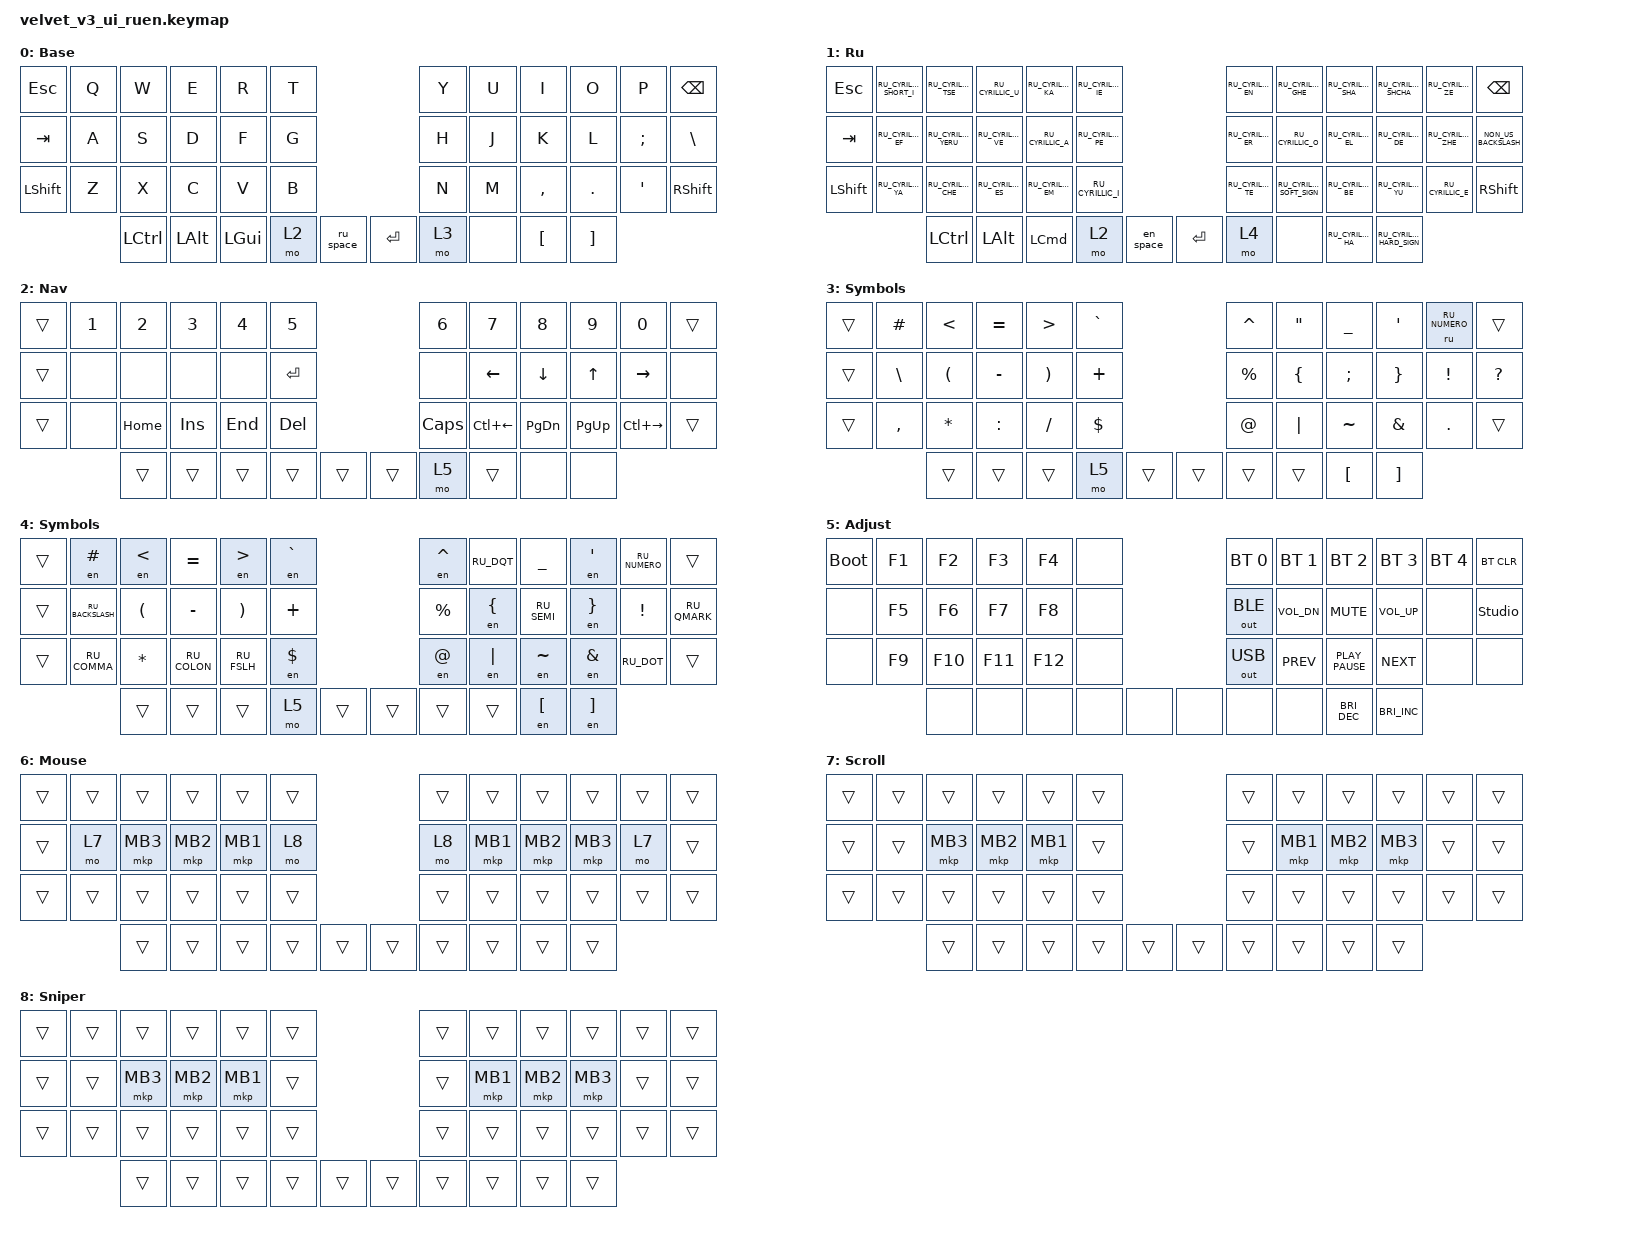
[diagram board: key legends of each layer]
#include "keys_ru.h"
#include <dt-bindings/zmk/input_transform.h>
#include <input/processors.dtsi>
#include <zephyr/dt-bindings/input/input-event-codes.h>
#include <behaviors.dtsi>
#include <dt-bindings/zmk/bt.h>
#include <dt-bindings/zmk/keys.h>
#include <dt-bindings/zmk/outputs.h>
#include <dt-bindings/zmk/pointing.h>

/ {
    behaviors {
        cap_sen: cap_sen {
            compatible = "zmk,behavior-hold-tap";
            label = "CAP_SEN";
            bindings = <&mo>, <&mkp>;

            #binding-cells = <2>;
            tapping-term-ms = <150>;
            hold-while-undecided;
        };

        en_space: en_space {
            compatible = "zmk,behavior-mod-morph";
            label = "EN_SPACE";
            bindings = <&kp SPACE>, <&layer_en>;

            #binding-cells = <0>;
            mods = <(MOD_LCTL)>;
        };

        ru_space: ru_space {
            compatible = "zmk,behavior-mod-morph";
            label = "RU_SPACE";
            bindings = <&kp SPACE>, <&layer_ru>;

            #binding-cells = <0>;
            mods = <(MOD_LCTL)>;
        };
    };

    combos {
        compatible = "zmk,combos";

        sniper_layer_left {
            bindings = <&mo 8>;
            key-positions = <17 16>;
        };

        scroll_layer_left {
            bindings = <&mo 7>;
            key-positions = <13 14>;
        };

        mouse_left_left {
            bindings = <&mkp MB1>;
            key-positions = <16 15>;
        };

        mouse_right_left {
            bindings = <&mkp MB2>;
            key-positions = <15 14>;
        };

        mouse_middle_left {
            bindings = <&mkp MB3>;
            key-positions = <15 14 16>;
        };

        sniper_layer_right {
            bindings = <&mo 8>;
            key-positions = <18 19>;
        };

        scroll_layer_right {
            bindings = <&mo 7>;
            key-positions = <22 21>;
        };

        mouse_left_right {
            bindings = <&mkp MB1>;
            key-positions = <19 20>;
        };

        mouse_right_right {
            bindings = <&mkp MB2>;
            key-positions = <20 21>;
        };

        mouse_middle_right {
            bindings = <&mkp MB3>;
            key-positions = <19 20 21>;
        };
    };

    macros {
        to_ru: to_ru {
            compatible = "zmk,behavior-macro";
            #binding-cells = <0>;
            bindings = <&kp LS(LC(N2))>;
            label = "TO_RU";
            wait-ms = <0>;
            tap-ms = <30>;
        };

        to_en: to_en {
            compatible = "zmk,behavior-macro";
            #binding-cells = <0>;
            bindings = <&kp LS(LC(N1))>;
            label = "TO_EN";
            wait-ms = <0>;
            tap-ms = <30>;
        };

        layer_en: layer_en {
            compatible = "zmk,behavior-macro";
            #binding-cells = <0>;
            bindings = <&to 0 &to_en>;
            label = "LAYER_EN";
            wait-ms = <0>;
            tap-ms = <30>;
        };

        layer_ru: layer_ru {
            compatible = "zmk,behavior-macro";
            #binding-cells = <0>;
            bindings = <&to 1 &to_ru>;
            label = "LAYER_RU";
            tap-ms = <30>;
            wait-ms = <0>;
        };

        en: en {
            compatible = "zmk,behavior-macro-one-param";
            #binding-cells = <1>;
            bindings =
                <&to_en>,
                <&macro_press>,
                <&macro_param_1to1 &kp MACRO_PLACEHOLDER>,
                <&macro_pause_for_release>,
                <&macro_release>,
                <&macro_param_1to1 &kp MACRO_PLACEHOLDER>,
                <&macro_tap>,
                <&to_ru>;

            label = "EN";
            wait-ms = <0>;
            tap-ms = <30>;
        };

        ru: ru {
            compatible = "zmk,behavior-macro-one-param";
            #binding-cells = <1>;
            bindings =
                <&to_ru>,
                <&macro_press>,
                <&macro_param_1to1 &kp MACRO_PLACEHOLDER>,
                <&macro_pause_for_release>,
                <&macro_release>,
                <&macro_param_1to1 &kp MACRO_PLACEHOLDER>,
                <&macro_tap>,
                <&to_en>;

            label = "RU";
            wait-ms = <0>;
            tap-ms = <30>;
        };
    };

    keymap {
        compatible = "zmk,keymap";

        en {
            bindings = <
&kp ESC    &kp Q  &kp W             &kp E         &kp R         &kp T                        &kp Y  &kp U  &kp I      &kp O     &kp P     &kp BSPC
&kp TAB    &kp A  &kp S             &kp D         &kp F         &kp G                        &kp H  &kp J  &kp K      &kp L     &kp SEMI  &kp BSLH
&kp LSHFT  &kp Z  &kp X             &kp C         &kp V         &kp B                        &kp N  &kp M  &kp COMMA  &kp DOT   &kp SQT   &kp RSHFT
                  &kp LEFT_CONTROL  &kp LEFT_ALT  &kp LEFT_GUI  &mo 2  &ru_space    &kp RET  &mo 3  &none  &kp LBKT   &kp RBKT
            >;

            display-name = "Base";
        };

        ru {
            display-name = "Ru";
            bindings = <
&kp ESC    &kp RU_CYRILLIC_SHORT_I  &kp RU_CYRILLIC_TSE   &kp RU_CYRILLIC_U   &kp RU_CYRILLIC_KA  &kp RU_CYRILLIC_IE                        &kp RU_CYRILLIC_EN  &kp RU_CYRILLIC_GHE        &kp RU_CYRILLIC_SHA  &kp RU_CYRILLIC_SHCHA      &kp RU_CYRILLIC_ZE   &kp BSPC
&kp TAB    &kp RU_CYRILLIC_EF       &kp RU_CYRILLIC_YERU  &kp RU_CYRILLIC_VE  &kp RU_CYRILLIC_A   &kp RU_CYRILLIC_PE                        &kp RU_CYRILLIC_ER  &kp RU_CYRILLIC_O          &kp RU_CYRILLIC_EL   &kp RU_CYRILLIC_DE         &kp RU_CYRILLIC_ZHE  &kp NON_US_BACKSLASH
&kp LSHFT  &kp RU_CYRILLIC_YA       &kp RU_CYRILLIC_CHE   &kp RU_CYRILLIC_ES  &kp RU_CYRILLIC_EM  &kp RU_CYRILLIC_I                         &kp RU_CYRILLIC_TE  &kp RU_CYRILLIC_SOFT_SIGN  &kp RU_CYRILLIC_BE   &kp RU_CYRILLIC_YU         &kp RU_CYRILLIC_E    &kp RSHFT
                                    &kp LEFT_CONTROL      &kp LEFT_ALT        &kp LEFT_COMMAND    &mo 2               &en_space    &kp RET  &mo 4               &none                      &kp RU_CYRILLIC_HA   &kp RU_CYRILLIC_HARD_SIGN
            >;
        };

        nav {
            bindings = <
&trans  &kp N1  &kp N2    &kp N3   &kp N4   &kp N5                     &kp N6    &kp N7        &kp N8         &kp N9       &kp N0         &trans
&trans  &none   &none     &none    &none    &kp RET                    &none     &kp LEFT      &kp DOWN       &kp UP       &kp RIGHT      &none
&trans  &none   &kp HOME  &kp INS  &kp END  &kp DEL                    &kp CLCK  &kp LC(LEFT)  &kp PAGE_DOWN  &kp PAGE_UP  &kp LC(RIGHT)  &trans
                &trans    &trans   &trans   &trans   &trans    &trans  &mo 5     &trans        &none          &none
            >;

            display-name = "Nav";
        };

        sym_en {
            bindings = <
&trans  &kp HASH   &kp LT    &kp EQUAL  &kp GT    &kp GRAVE                    &kp CARET  &kp DQT   &kp UNDER  &kp SQT   &ru RU_NUMERO  &trans
&trans  &kp BSLH   &kp LPAR  &kp MINUS  &kp RPAR  &kp PLUS                     &kp PRCNT  &kp LBRC  &kp SEMI   &kp RBRC  &kp EXCL       &kp QUESTION
&trans  &kp COMMA  &kp STAR  &kp COLON  &kp FSLH  &kp DLLR                     &kp AT     &kp PIPE  &kp TILDE  &kp AMPS  &kp DOT        &trans
                   &trans    &trans     &trans    &mo 5      &trans    &trans  &trans     &trans    &kp LBKT   &kp RBKT
            >;

            display-name = "Symbols";
        };

        sym_ru {
            display-name = "Symbols";
            bindings = <
&trans  &en HASH          &en LT    &kp EQUAL     &en GT       &en GRAVE                    &en CARET  &kp RU_DQT  &kp UNDER    &en SQT   &kp RU_NUMERO  &trans
&trans  &kp RU_BACKSLASH  &kp LPAR  &kp MINUS     &kp RPAR     &kp PLUS                     &kp PRCNT  &en LBRC    &kp RU_SEMI  &en RBRC  &kp EXCL       &kp RU_QMARK
&trans  &kp RU_COMMA      &kp STAR  &kp RU_COLON  &kp RU_FSLH  &en DLLR                     &en AT     &en PIPE    &en TILDE    &en AMPS  &kp RU_DOT     &trans
                          &trans    &trans        &trans       &mo 5      &trans    &trans  &trans     &trans      &en LBKT     &en RBKT
            >;
        };

        adj {
            bindings = <
&bootloader  &kp F1  &kp F2   &kp F3   &kp F4   &none                  &bt BT_SEL 0  &bt BT_SEL 1  &bt BT_SEL 2          &bt BT_SEL 3          &bt BT_SEL 4  &bt BT_CLR
&none        &kp F5  &kp F6   &kp F7   &kp F8   &none                  &out OUT_BLE  &kp C_VOL_DN  &kp K_MUTE            &kp C_VOL_UP          &none         &studio_unlock
&none        &kp F9  &kp F10  &kp F11  &kp F12  &none                  &out OUT_USB  &kp K_PREV    &kp K_PLAY_PAUSE      &kp K_NEXT            &none         &none
                     &none    &none    &none    &none  &none    &none  &none         &none         &kp C_BRIGHTNESS_DEC  &kp C_BRIGHTNESS_INC
            >;

            display-name = "Adjust";
        };

        mouse {
            bindings = <
&trans  &trans  &trans    &trans    &trans    &trans                    &trans  &trans    &trans    &trans    &trans  &trans
&trans  &mo 7   &mkp MB3  &mkp MB2  &mkp MB1  &mo 8                     &mo 8   &mkp MB1  &mkp MB2  &mkp MB3  &mo 7   &trans
&trans  &trans  &trans    &trans    &trans    &trans                    &trans  &trans    &trans    &trans    &trans  &trans
                &trans    &trans    &trans    &trans  &trans    &trans  &trans  &trans    &trans    &trans
            >;

            display-name = "Mouse";
        };

        scroll {
            bindings = <
&trans  &trans  &trans    &trans    &trans    &trans                    &trans  &trans    &trans    &trans    &trans  &trans
&trans  &trans  &mkp MB3  &mkp MB2  &mkp MB1  &trans                    &trans  &mkp MB1  &mkp MB2  &mkp MB3  &trans  &trans
&trans  &trans  &trans    &trans    &trans    &trans                    &trans  &trans    &trans    &trans    &trans  &trans
                &trans    &trans    &trans    &trans  &trans    &trans  &trans  &trans    &trans    &trans
            >;

            display-name = "Scroll";
        };

        sniper {
            bindings = <
&trans  &trans  &trans    &trans    &trans    &trans                    &trans  &trans    &trans    &trans    &trans  &trans
&trans  &trans  &mkp MB3  &mkp MB2  &mkp MB1  &trans                    &trans  &mkp MB1  &mkp MB2  &mkp MB3  &trans  &trans
&trans  &trans  &trans    &trans    &trans    &trans                    &trans  &trans    &trans    &trans    &trans  &trans
                &trans    &trans    &trans    &trans  &trans    &trans  &trans  &trans    &trans    &trans
            >;

            display-name = "Sniper";
        };
    };
};

&trackball { cpi = <1000>; };

&trackball_listener {
    input-processors = <&zip_xy_scaler 9 20>;

    scroller {
        layers = <7>;
        input-processors =
            <&zip_xy_transform INPUT_TRANSFORM_Y_INVERT>,
            <&zip_xy_scaler 1 64>,
            <&zip_xy_to_scroll_mapper>;
    };

    sniper {
        layers = <8>;
        input-processors = <&zip_xy_scaler 1 4>;
    };
};
